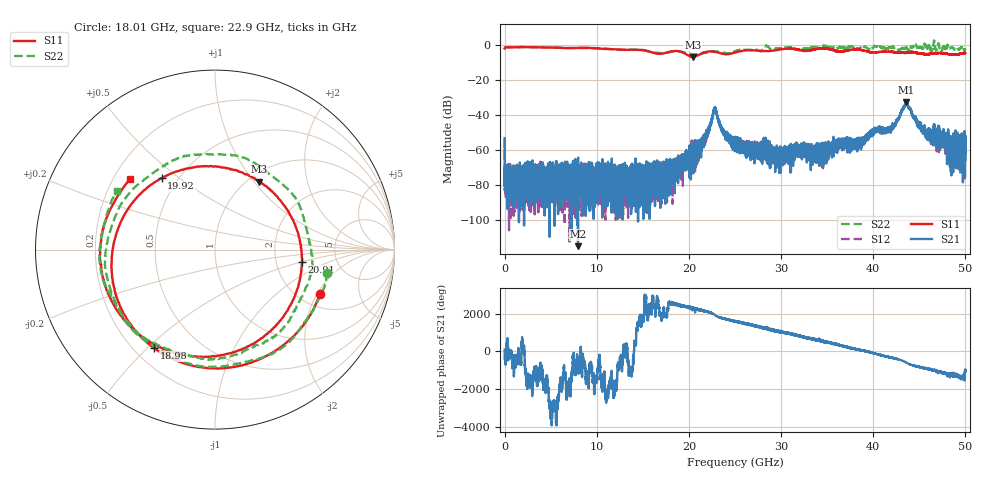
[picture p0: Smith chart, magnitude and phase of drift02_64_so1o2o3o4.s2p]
!Created with skrf (http://scikit-rf.org).
# Hz S RI R 50.0
!freq ReS11 ImS11 ReS21 ImS21 ReS12 ImS12 ReS22 ImS22
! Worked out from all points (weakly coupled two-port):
!   10001 points, 300 kHz to 50 GHz, reference 50 ohm
!   highest |S21| = -32.97 dB at 43.55 GHz (marker M1); lowest = -115.2 dB at 7.965 GHz (marker M2)
!   lowest |S11| = -6.9 dB at 20.42 GHz (marker M3), VSWR 2.64, Z = 55.8 + j53 ohm
!   |S11| at or under -10 dB: nowhere
!   |S22| runs from -5.7 to 2.4 dB; largest |S21 - S12| = 0.0044
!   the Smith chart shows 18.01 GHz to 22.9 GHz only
!   S11 on the Smith chart (normalised r, x): 18.01 GHz: 2.53, -2.11; 18.98 GHz: 0.28, -0.52; 19.92 GHz: 0.41, +0.43; 20.91 GHz: 2.81, -0.49; 22.9 GHz: 0.27, +0.34
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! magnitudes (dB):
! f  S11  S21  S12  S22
! 300 kHz  -2.1  -53.5  -53.9  -2.1
! 260.3 MHz  -1.4  -74.4  -75.1  -1.4
! 7.965 GHz  -1.8  -115.2  -74.2  -1.9
! 8.335 GHz  -1.7  -73.2  -76.5  -1.9
! 16.67 GHz  -5.2  -77.0  -82.0  -4.7
! 18.01 GHz  -4.0  -75.1  -72.9  -3.9
! 18.98 GHz  -3.8  -68.7  -69.4  -3.9
! 19.92 GHz  -6.1  -65.6  -64.3  -5.2
! 20.42 GHz  -6.9  -69.2  -60.8  -5.4
! 20.91 GHz  -6.2  -58.4  -63.4  -5.6
! 21.87 GHz  -4.2  -53.4  -51.3  -4.3
! 22.9 GHz  -4.2  -36.9  -36.5  -3.9
! 23.75 GHz  -5.3  -48.5  -51.0  -4.6
! 25 GHz  -4.5  -57.5  -55.8  -3.9
! 29.59 GHz  -3.0  -62.0  -65.3  -2.1
! 33.34 GHz  -3.0  -58.9  -60.8  -1.6
! 38.1 GHz  -2.8  -57.9  -57.0  -2.2
! 41.67 GHz  -4.0  -48.4  -48.1  -1.9
! 43.55 GHz  -4.4  -33.0  -33.4  -1.3
! 45.8 GHz  -5.4  -50.7  -52.0  -2.4
! 48.61 GHz  -5.6  -59.4  -56.2  -1.5
! 50 GHz  -4.8  -53.7  -52.7  -2.7
